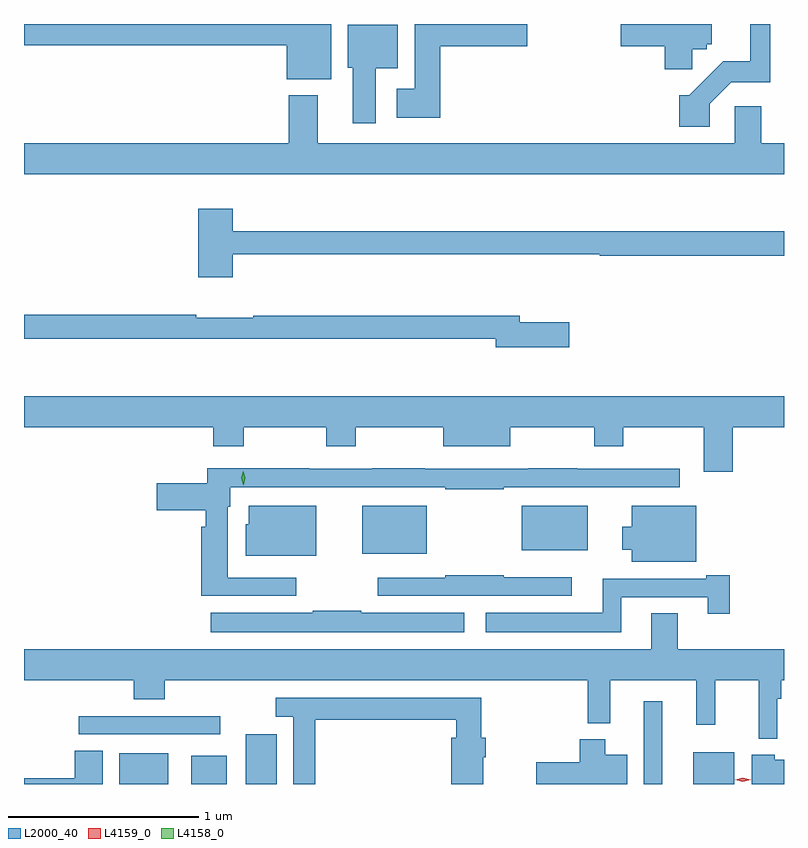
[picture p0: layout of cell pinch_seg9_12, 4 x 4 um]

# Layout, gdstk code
import gdstk
lib = gdstk.Library(unit=1e-6, precision=1e-09)
def R(c, l, rs):  # rectangles x0, y0, x1, y1
    for r in rs: c.add(gdstk.rectangle(r[:2], r[2:], *l))
def P(c, l, *ps):  # polygons
    for p in ps: c.add(gdstk.Polygon(p, *l))
L2000_40 = (2000, 40)
L4158_0 = (4158, 0)
L4159_0 = (4159, 0)

pinch_seg9_12 = lib.new_cell('pinch_seg9_12')
R(pinch_seg9_12, L2000_40, [(1022.282,1218.519,1022.539,1218.682), (1022.66,1218.519,1022.848,1218.667), (1022.948,1218.519,1023.109,1218.781), (1025.043,1218.519,1025.14,1218.955), (1025.303,1218.519,1025.518,1218.685), (1022.067,1218.78,1022.812,1218.876), (1023.56,1219.73,1023.901,1219.984), (1024.4,1219.748,1024.747,1219.984)])
P(pinch_seg9_12, L2000_40, [(1025.388,1222.098),(1025.502,1222.212),(1025.707,1222.212),(1025.707,1222.519),(1025.603,1222.519),(1025.603,1222.322),(1025.459,1222.322),(1025.281,1222.144),(1025.228,1222.144),(1025.228,1221.978),(1025.388,1221.978)],
  [(1023.971,1222.403),(1024.429,1222.403),(1024.429,1222.519),(1023.836,1222.519),(1023.836,1222.177),(1023.741,1222.177),(1023.741,1222.025),(1023.971,1222.025)],
  [(1023.397,1222.519),(1021.78,1222.519),(1021.78,1222.408),(1023.164,1222.408),(1023.164,1222.229),(1023.397,1222.229)],
  [(1025.297,1222.386),(1025.373,1222.386),(1025.373,1222.413),(1025.401,1222.413),(1025.401,1222.519),(1024.92,1222.519),(1024.92,1222.403),(1025.153,1222.403),(1025.153,1222.281),(1025.297,1222.281)],
  [(1023.631,1222.286),(1023.748,1222.286),(1023.748,1222.516),(1023.485,1222.516),(1023.485,1222.29),(1023.509,1222.29),(1023.509,1221.996),(1023.631,1221.996)],
  [(1025.78,1221.892),(1025.659,1221.892),(1025.659,1222.087),(1025.52,1222.087),(1025.52,1221.892),(1023.325,1221.892),(1023.325,1222.144),(1023.173,1222.144),(1023.173,1221.892),(1021.78,1221.892),(1021.78,1221.728),(1025.78,1221.728)],
  [(1022.879,1221.306),(1024.811,1221.306),(1024.811,1221.298),(1025.78,1221.298),(1025.78,1221.427),(1022.879,1221.427),(1022.879,1221.547),(1022.696,1221.547),(1022.696,1221.186),(1022.879,1221.186)],
  [(1024.651,1220.949),(1024.39,1220.949),(1024.39,1220.983),(1022.986,1220.983),(1022.986,1220.972),(1022.686,1220.972),(1022.686,1220.99),(1021.78,1220.99),(1021.78,1220.862),(1024.262,1220.862),(1024.262,1220.819),(1024.651,1220.819)],
  [(1025.51,1220.396),(1025.78,1220.396),(1025.78,1220.56),(1021.78,1220.56),(1021.78,1220.396),(1022.777,1220.396),(1022.777,1220.297),(1022.937,1220.297),(1022.937,1220.396),(1023.37,1220.396),(1023.37,1220.297),(1023.525,1220.297),(1023.525,1220.396),(1023.986,1220.396),(1023.986,1220.297),(1024.339,1220.297),(1024.339,1220.396),(1024.78,1220.396),(1024.78,1220.297),(1024.935,1220.297),(1024.935,1220.396),(1025.357,1220.396),(1025.357,1220.163),(1025.51,1220.163)],
  [(1023.214,1219.605),(1022.853,1219.605),(1022.853,1219.977),(1022.866,1219.977),(1022.866,1220.082),(1023.997,1220.082),(1023.997,1220.07),(1024.304,1220.07),(1024.304,1220.082),(1025.23,1220.082),(1025.23,1220.178),(1024.691,1220.178),(1024.691,1220.18),(1024.435,1220.18),(1024.435,1220.178),(1023.89,1220.178),(1023.89,1220.18),(1023.613,1220.18),(1023.613,1220.178),(1023.281,1220.178),(1023.281,1220.18),(1022.744,1220.18),(1022.744,1220.103),(1022.478,1220.103),(1022.478,1219.961),(1022.737,1219.961),(1022.737,1219.873),(1022.714,1219.873),(1022.714,1219.509),(1023.214,1219.509)],
  [(1023.319,1219.984),(1022.963,1219.984),(1022.963,1219.887),(1022.948,1219.887),(1022.948,1219.721),(1023.319,1219.721)],
  [(1025.317,1219.984),(1024.979,1219.984),(1024.979,1219.873),(1024.928,1219.873),(1024.928,1219.751),(1024.979,1219.751),(1024.979,1219.688),(1025.317,1219.688)],
  [(1024.924,1219.503),(1025.378,1219.503),(1025.378,1219.416),(1025.495,1219.416),(1025.495,1219.619),(1025.372,1219.619),(1025.372,1219.599),(1024.826,1219.599),(1024.826,1219.42),(1024.209,1219.42),(1024.209,1219.319),(1024.924,1219.319)],
  [(1024.663,1219.606),(1024.304,1219.606),(1024.304,1219.618),(1023.997,1219.618),(1023.997,1219.605),(1023.642,1219.605),(1023.642,1219.509),(1024.663,1219.509)],
  [(1024.096,1219.42),(1023.554,1219.42),(1023.554,1219.43),(1023.301,1219.43),(1023.301,1219.42),(1022.763,1219.42),(1022.763,1219.319),(1024.096,1219.319)],
  [(1025.745,1218.968),(1025.765,1218.968),(1025.765,1219.064),(1025.78,1219.064),(1025.78,1219.228),(1025.221,1219.228),(1025.221,1219.418),(1025.081,1219.418),(1025.081,1219.228),(1021.78,1219.228),(1021.78,1219.064),(1022.357,1219.064),(1022.357,1218.965),(1022.522,1218.965),(1022.522,1219.064),(1024.747,1219.064),(1024.747,1218.839),(1024.865,1218.839),(1024.865,1219.064),(1025.318,1219.064),(1025.318,1218.831),(1025.418,1218.831),(1025.418,1219.064),(1025.647,1219.064),(1025.647,1218.758),(1025.745,1218.758)],
  [(1023.314,1218.856),(1024.055,1218.856),(1024.055,1218.763),(1024.028,1218.763),(1024.028,1218.519),(1024.198,1218.519),(1024.198,1218.659),(1024.211,1218.659),(1024.211,1218.763),(1024.187,1218.763),(1024.187,1218.972),(1023.105,1218.972),(1023.105,1218.872),(1023.198,1218.872),(1023.198,1218.519),(1023.314,1218.519)],
  [(1024.954,1218.673),(1024.84,1218.673),(1024.84,1218.754),(1024.706,1218.754),(1024.706,1218.633),(1024.476,1218.633),(1024.476,1218.519),(1024.954,1218.519)],
  [(1022.194,1218.695),(1022.048,1218.695),(1022.048,1218.548),(1021.78,1218.548),(1021.78,1218.519),(1022.194,1218.519)],
  [(1025.78,1218.646),(1025.73,1218.646),(1025.73,1218.673),(1025.609,1218.673),(1025.609,1218.519),(1025.78,1218.519)])
P(pinch_seg9_12, L4158_0, [(1022.935,1220.094),(1022.935,1220.094),(1022.924,1220.13),(1022.933,1220.166),(1022.933,1220.166),(1022.933,1220.166),(1022.944,1220.13),(1022.936,1220.094)])
P(pinch_seg9_12, L4159_0, [(1025.564,1218.532),(1025.524,1218.542),(1025.523,1218.542),(1025.524,1218.542),(1025.564,1218.552),(1025.604,1218.542),(1025.604,1218.542),(1025.604,1218.542)])

lib.write_gds('pinch_seg9_12.gds')
